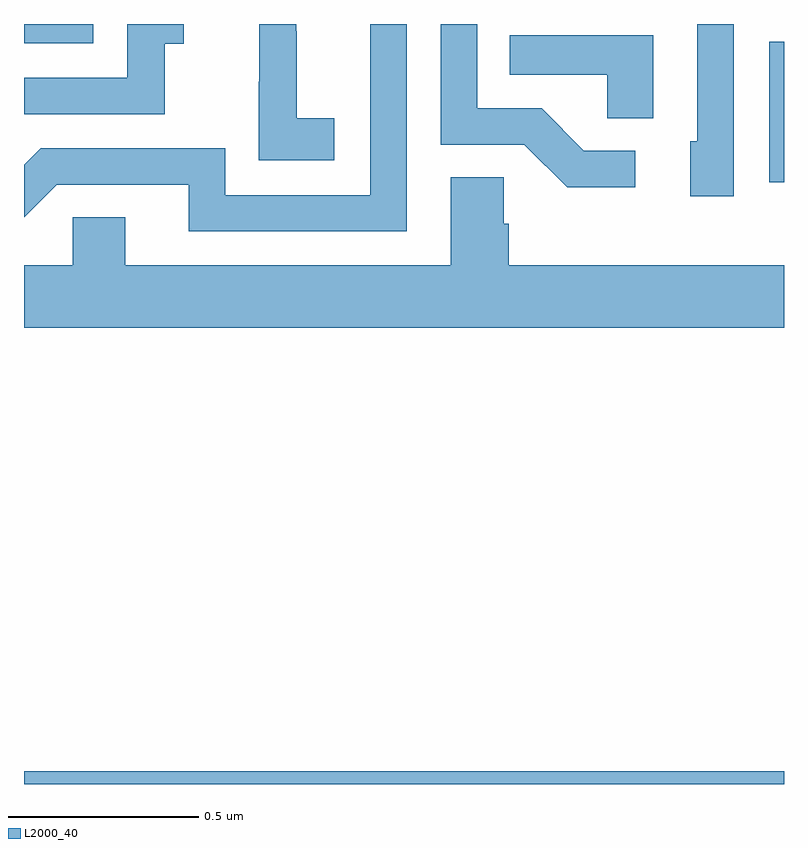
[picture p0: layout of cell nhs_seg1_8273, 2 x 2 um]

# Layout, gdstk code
import gdstk
lib = gdstk.Library(unit=1e-6, precision=1e-09)
def R(c, l, rs):  # rectangles x0, y0, x1, y1
    for r in rs: c.add(gdstk.rectangle(r[:2], r[2:], *l))
def P(c, l, *ps):  # polygons
    for p in ps: c.add(gdstk.Polygon(p, *l))
L2000_40 = (2000, 40)

nhs_seg1_8273 = lib.new_cell('nhs_seg1_8273')
R(nhs_seg1_8273, L2000_40, [(214,549.199,216,549.232), (215.961,550.782,216,551.152), (214,551.148,214.182,551.199)])
P(nhs_seg1_8273, L2000_40, [(214.371,551.147),(214.42,551.147),(214.42,551.199),(214.272,551.199),(214.272,551.058),(214,551.058),(214,550.962),(214.371,550.962)],
  [(215.608,550.866),(215.473,550.866),(215.362,550.977),(215.193,550.977),(215.193,551.199),(215.097,551.199),(215.097,550.881),(215.316,550.881),(215.429,550.769),(215.608,550.769)],
  [(215.007,551.199),(214.911,551.199),(214.911,550.749),(214.53,550.749),(214.53,550.872),(214.044,550.872),(214,550.828),(214,550.69),(214.086,550.776),(214.433,550.776),(214.433,550.653),(215.007,550.653)],
  [(215.868,551.199),(215.772,551.199),(215.772,550.89),(215.753,550.89),(215.753,550.746),(215.868,550.746)],
  [(214.816,550.951),(214.718,550.951),(214.718,551.18),(214.716,551.18),(214.716,551.199),(214.619,551.199),(214.619,551.047),(214.618,551.047),(214.618,550.841),(214.816,550.841)],
  [(215.656,551.17),(215.278,551.17),(215.278,551.066),(215.535,551.066),(215.535,550.951),(215.656,550.951)],
  [(216,550.564),(215.276,550.564),(215.276,550.673),(215.262,550.673),(215.262,550.796),(215.123,550.796),(215.123,550.564),(214.267,550.564),(214.267,550.691),(214.128,550.691),(214.128,550.564),(214,550.564),(214,550.4),(216,550.4)])

lib.write_gds('nhs_seg1_8273.gds')
